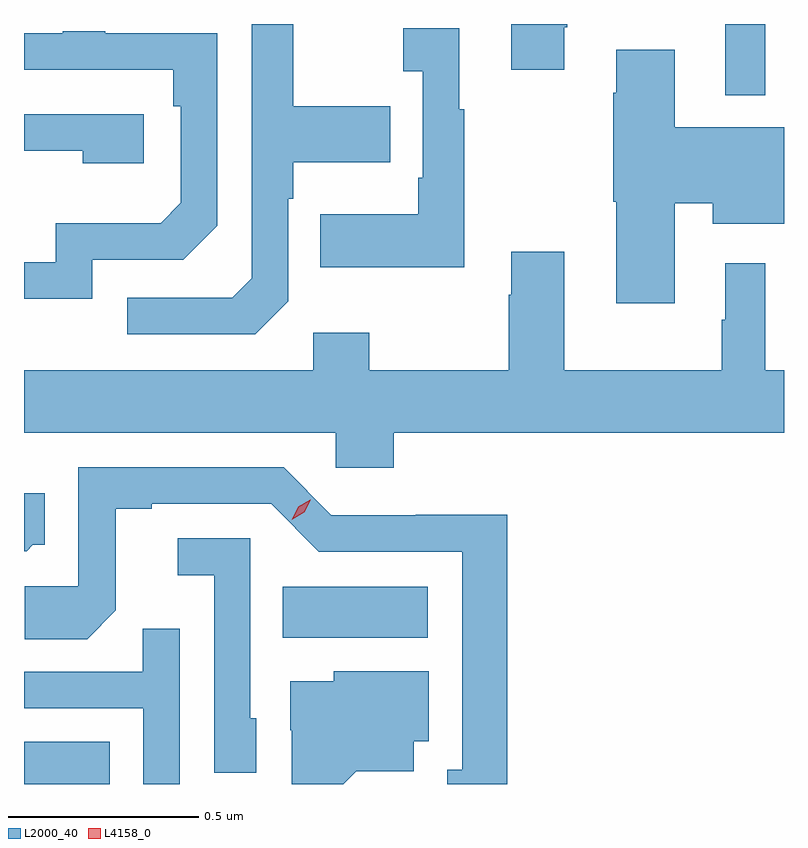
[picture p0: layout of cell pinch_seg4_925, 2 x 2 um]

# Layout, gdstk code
import gdstk
lib = gdstk.Library(unit=1e-6, precision=1e-09)
def R(c, l, rs):  # rectangles x0, y0, x1, y1
    for r in rs: c.add(gdstk.rectangle(r[:2], r[2:], *l))
def P(c, l, *ps):  # polygons
    for p in ps: c.add(gdstk.Polygon(p, *l))
L2000_40 = (2000, 40)
L4158_0 = (4158, 0)

pinch_seg4_925 = lib.new_cell('pinch_seg4_925')
R(pinch_seg4_925, L2000_40, [(724.765,826.531,724.99,826.642), (725.446,826.916,725.827,827.05), (726.611,828.344,726.715,828.531)])
P(pinch_seg4_925, L2000_40, [(726.187,828.523),(726.195,828.523),(726.195,828.531),(726.047,828.531),(726.047,828.411),(726.187,828.411)],
  [(725.46,827.802),(725.46,828.071),(725.473,828.071),(725.473,828.167),(725.729,828.167),(725.729,828.315),(725.473,828.315),(725.473,828.531),(725.364,828.531),(725.364,827.862),(725.313,827.811),(725.037,827.811),(725.037,827.715),(725.373,827.715)],
  [(725.923,828.307),(725.911,828.307),(725.911,828.52),(725.763,828.52),(725.763,828.407),(725.814,828.407),(725.814,828.127),(725.802,828.127),(725.802,828.031),(725.545,828.031),(725.545,827.891),(725.923,827.891)],
  [(724.944,827.91),(725.184,827.91),(725.274,828),(725.274,828.507),(724.979,828.507),(724.979,828.512),(724.867,828.512),(724.867,828.507),(724.765,828.507),(724.765,828.411),(725.158,828.411),(725.158,828.314),(725.178,828.314),(725.178,828.06),(725.125,828.007),(724.848,828.007),(724.848,827.904),(724.765,827.904),(724.765,827.808),(724.944,827.808)],
  [(726.478,828.059),(726.578,828.059),(726.578,828.005),(726.765,828.005),(726.765,828.259),(726.478,828.259),(726.478,828.463),(726.323,828.463),(726.323,828.35),(726.316,828.35),(726.316,828.063),(726.323,828.063),(726.323,827.796),(726.478,827.796)],
  [(725.08,828.294),(724.765,828.294),(724.765,828.198),(724.919,828.198),(724.919,828.164),(725.08,828.164)],
  [(725.738,827.456),(726.765,827.456),(726.765,827.62),(726.715,827.62),(726.715,827.902),(726.611,827.902),(726.611,827.753),(726.601,827.753),(726.601,827.62),(726.187,827.62),(726.187,827.932),(726.047,827.932),(726.047,827.819),(726.04,827.819),(726.04,827.62),(725.673,827.62),(725.673,827.719),(725.526,827.719),(725.526,827.62),(724.765,827.62),(724.765,827.456),(725.586,827.456),(725.586,827.363),(725.738,827.363)],
  [(726.037,827.24),(725.796,827.24),(725.796,827.238),(725.574,827.238),(725.448,827.364),(724.908,827.364),(724.908,827.052),(724.767,827.052),(724.767,826.912),(724.931,826.912),(725.007,826.988),(725.007,827.256),(725.101,827.256),(725.101,827.268),(725.415,827.268),(725.541,827.142),(725.918,827.142),(725.918,826.569),(725.879,826.569),(725.879,826.531),(726.037,826.531)],
  [(724.788,827.16),(724.819,827.16),(724.819,827.296),(724.765,827.296),(724.765,827.144),(724.772,827.144)],
  [(725.376,826.704),(725.361,826.704),(725.361,827.178),(725.169,827.178),(725.169,827.081),(725.265,827.081),(725.265,826.561),(725.376,826.561)],
  [(725.175,826.94),(725.077,826.94),(725.077,826.827),(724.765,826.827),(724.765,826.731),(725.079,826.731),(725.079,826.531),(725.175,826.531)],
  [(725.639,826.565),(725.791,826.565),(725.791,826.644),(725.83,826.644),(725.83,826.828),(725.58,826.828),(725.58,826.801),(725.465,826.801),(725.465,826.672),(725.469,826.672),(725.469,826.531),(725.605,826.531)])
P(pinch_seg4_925, L4158_0, [(725.47,827.227),(725.47,827.227),(725.487,827.26),(725.518,827.279),(725.519,827.279),(725.519,827.279),(725.502,827.246),(725.47,827.227)])

lib.write_gds('pinch_seg4_925.gds')
